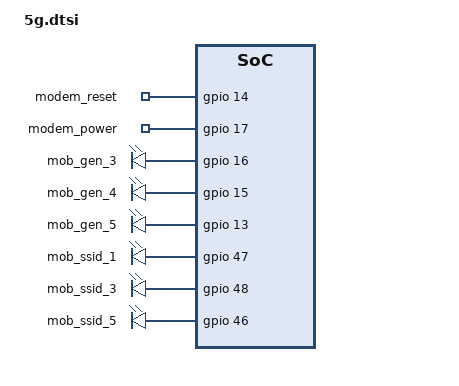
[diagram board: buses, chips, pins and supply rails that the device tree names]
/ {
	gpio-export {
		compatible = "gpio-export";
		#size-cells = <0>;

		gpio_modem_reset {
			gpio-export,name = "modem_reset";
			gpio-export,output = <0>;
			gpios = <&gpio 14 GPIO_ACTIVE_HIGH>;
		};

		gpio_modem_power {
			gpio-export,name = "modem_power";
			gpio-export,output = <1>;
			gpios = <&gpio 17 GPIO_ACTIVE_HIGH>;
		};
	};

    leds {
		compatible = "gpio-leds";

        led_gen_3 {
			label = "mob_gen_3";
			gpios = <&gpio 16 GPIO_ACTIVE_HIGH>;
		};

		led_gen_4 {
			label = "mob_gen_4";
			gpios = <&gpio 15 GPIO_ACTIVE_HIGH>;
		};

		led_gen_5 {
			label = "mob_gen_5";
			gpios = <&gpio 13 GPIO_ACTIVE_HIGH>;
		};

		led_ssid_1 {
			label = "mob_ssid_1";
			gpios = <&gpio 47 GPIO_ACTIVE_HIGH>;
			linux,default-trigger = "timer";
		};

		led_ssid_3 {
			label = "mob_ssid_3";
			gpios = <&gpio 48 GPIO_ACTIVE_HIGH>;
			linux,default-trigger = "timer";
		};

		led_ssid_5 {
			label = "mob_ssid_5";
			gpios = <&gpio 46 GPIO_ACTIVE_HIGH>;
			linux,default-trigger = "timer";
		};
    };

	tlt_gpios {
		misc {
			GPIO_14 {
				line_name = "GPIO_MODEM_RESET_1";
			};
			GPIO_17 {
				line_name = "GPIO_MODEM_POWER_1";
			};
		};
	};
};
